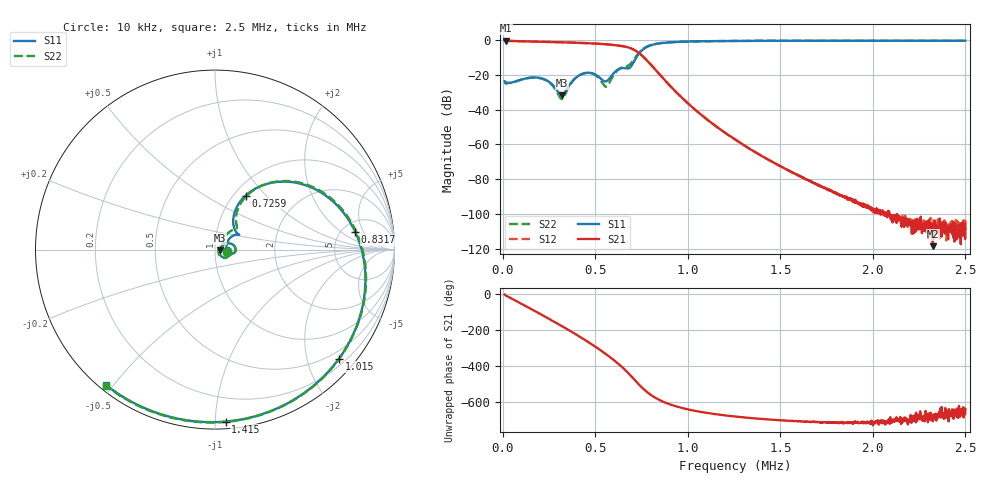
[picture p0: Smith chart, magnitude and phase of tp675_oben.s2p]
# HZ S MA R 50
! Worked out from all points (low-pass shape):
!   1601 points, 10 kHz to 2.5 MHz, reference 50 ohm
!   highest |S21| = -0.16 dB at 16.23 kHz (marker M1); lowest = -118.6 dB at 2.324 MHz (marker M2)
!   |S21| within 3 dB of the highest: start of sweep to 631.2 kHz
!   lowest |S11| = -31.7 dB at 319.7 kHz (marker M3), VSWR 1.05, Z = 52.6 - j0.382 ohm
!   |S11| at or under -10 dB: start of sweep to 721.2 kHz
!   |S22| runs from -33.8 to -0.3 dB; largest |S21 - S12| = 0.03
!   S11 on the Smith chart (normalised r, x): 10 kHz: 1.14, -0.02; 725.9 kHz: 1.13, +0.77; 831.7 kHz: 6.61, +3.43; 1.015 MHz: 0.33, -2.61; 1.415 MHz: 0.04, -1.06; 2.5 MHz: 0.02, -0.48
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10000  0.06558 -9.2  0.9711 -5.3  0.9655 -5.2  0.06661 -9.8
16225  0.05697 -15.2  0.9815 -10.5  0.9845 -8.8  0.06179 -12.7
97150  0.07259 1.9  0.9356 -54.6  0.9356 -54.6  0.07241 0.6
165625  0.08465 -16.2  0.9188 -92.3  0.9184 -92.2  0.08395 -18.2
251219  0.06275 -43.5  0.8974 -140.3  0.8973 -140.3  0.06106 -47.7
319694  0.02599 -8.0  0.8776 179.7  0.8773 179.7  0.02032 -7.9
425519  0.1053 14.2  0.8357 114.9  0.8354 114.9  0.1044 15.3
500219  0.1026 -12.3  0.7999 65.7  0.7997 65.7  0.09899 -16.1
554688  0.06503 8.8  0.768 26.6  0.7677 26.6  0.04649 7.0
582700  0.0869 34.3  0.7457 5.0  0.7452 5.1  0.07018 48.0
663625  0.1551 33.0  0.6477 -65.5  0.6475 -65.4  0.1745 45.3
725875  0.3465 60.4  0.4684 -133.5  0.4702 -132.9  0.3752 58.2
775675  0.6287 34.2  0.2736 177.3  0.2753 177.9  0.6413 33.3
831700  0.7878 7.2  0.1288 138.0  0.1293 138.3  0.7929 7.2
841038  0.8034 3.5  0.1131 132.8  0.1136 133.1  0.8079 3.5
1015338  0.9199 -41.4  0.0129 74.4  0.01289 74.5  0.9204 -40.8
1255000  0.9532 -72.9  0.001385 38.0  0.00138 38.2  0.9534 -72.3
1415294  0.9599 -86.5  0.000416 23.1  0.0004155 23.4  0.961 -85.9
1670519  0.9646 -101.9  8.204e-05 8.7  8.118e-05 9.5  0.9658 -101.5
2086038  0.967 -118.2  9.125e-06 23.8  9.927e-06 3.5  0.9694 -118.0
2324144  0.9679 -124.8  1.174e-06 11.5  4.506e-06 61.8  0.9703 -124.6
2500000  0.9687 -128.7  5.269e-06 78.5  3.353e-06 62.5  0.971 -128.6
